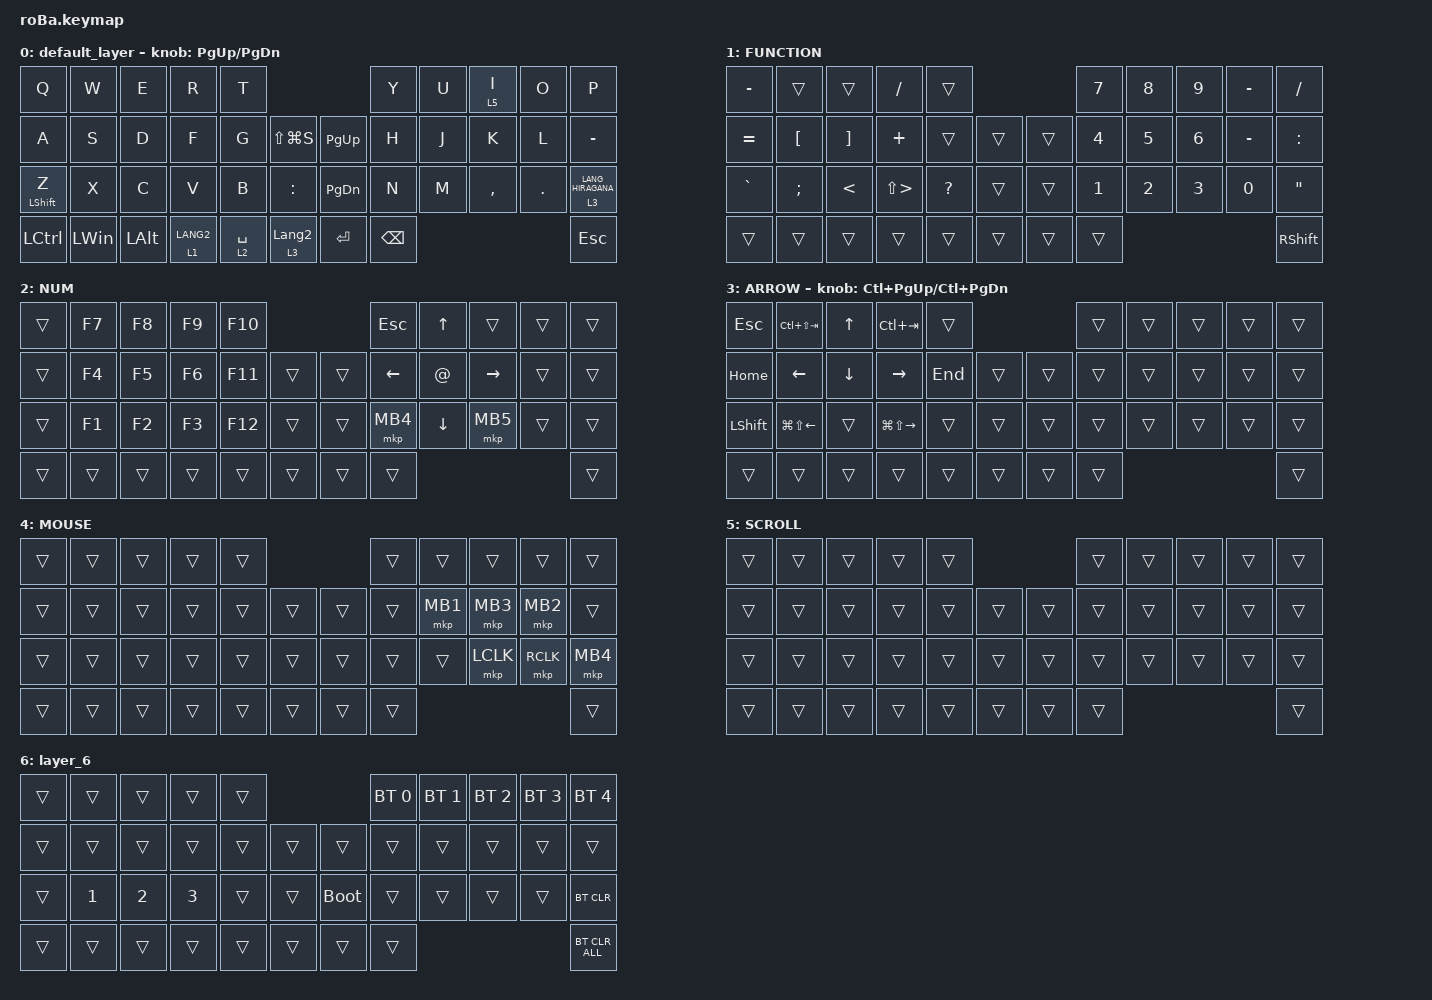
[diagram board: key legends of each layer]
#include <behaviors.dtsi>
#include <dt-bindings/zmk/bt.h>
#include <dt-bindings/zmk/keys.h>
#include <dt-bindings/zmk/pointing.h>

&mt {
    flavor = "balanced";
    quick-tap-ms = <0>;
};

&trackball {
    automouse-layer = <4>;
    scroll-layers = <5>;

    // arrows {
    //     layers = <3>;
    //     bindings =
    //         <&kp RIGHT_ARROW>,
    //         <&kp LEFT_ARROW>,
    //         <&kp UP_ARROW>,
    //         <&kp DOWN_ARROW>;
    //     tick = <10>;
    //     wait-ms = <5>;
    //     tap-ms = <5>;
    // };
};

/ {
    combos {
        compatible = "zmk,combos";

        tab {
            bindings = <&kp TAB>;
            key-positions = <11 12>;
        };

        shift_tab {
            bindings = <&kp LS(TAB)>;
            key-positions = <12 13>;
        };

        muhennkann {
            bindings = <&to_layer_0 INT_MUHENKAN>;
            key-positions = <11 10>;
        };

        double_quotation {
            bindings = <&kp DOUBLE_QUOTES>;
            key-positions = <20 21>;
        };

        eq {
            bindings = <&kp EQUAL>;
            key-positions = <24 25>;
        };
    };

    macros {
        to_layer_0: to_layer_0 {
            compatible = "zmk,behavior-macro-one-param";
            #binding-cells = <1>;
            bindings = <&to 0 &macro_param_1to1 &kp MACRO_PLACEHOLDER>;
            label = "TO_LAYER_0";
        };
    };

    behaviors {
        lt_to_layer_0: lt_to_layer_0 {
            compatible = "zmk,behavior-hold-tap";
            label = "LAYER_TAP_TO_0";
            bindings = <&mo>, <&to_layer_0>;

            #binding-cells = <2>;
            tapping-term-ms = <200>;
        };
    };

    keymap {
        compatible = "zmk,keymap";

        default_layer {
            bindings = <
&kp Q             &kp W         &kp E         &kp R        &kp T                                             &kp Y          &kp U  &lt 5 I    &kp O    &kp P
&kp A             &kp S         &kp D         &kp F        &kp G        &kp LS(LG(S))         &kp PAGE_UP    &kp H          &kp J  &kp K      &kp L    &kp MINUS
&mt LEFT_SHIFT Z  &kp X         &kp C         &kp V        &kp B        &kp COLON             &kp PAGE_DOWN  &kp N          &kp M  &kp COMMA  &kp DOT  &lt 3 LANG_HIRAGANA
&kp LCTRL         &kp LEFT_WIN  &kp LEFT_ALT  &lt 1 LANG2  &lt 2 SPACE  &lt 3 LANGUAGE_2      &kp ENTER      &kp BACKSPACE                             &kp ESCAPE
            >;

            sensor-bindings = <&inc_dec_kp PG_UP PAGE_DOWN>;
        };

        FUNCTION {
            bindings = <
&kp MINUS  &trans            &trans             &kp SLASH             &trans                            &kp NUMBER_7  &kp NUMBER_8  &kp NUMBER_9  &kp MINUS  &kp SLASH
&kp EQUAL  &kp LEFT_BRACKET  &kp RIGHT_BRACKET  &kp PLUS              &trans        &trans      &trans  &kp NUMBER_4  &kp N5        &kp NUMBER_6  &kp MINUS  &kp COLON
&kp GRAVE  &kp SEMICOLON     &kp LESS_THAN      &kp LS(GREATER_THAN)  &kp QUESTION  &trans      &trans  &kp NUMBER_1  &kp NUMBER_2  &kp NUMBER_3  &kp N0     &kp DOUBLE_QUOTES
&trans     &trans            &trans             &trans                &trans        &trans      &trans  &trans                                               &kp RIGHT_SHIFT
            >;
        };

        NUM {
            bindings = <
&trans  &kp F7  &kp F8  &kp F9  &kp F10                      &kp ESCAPE  &kp UP_ARROW    &trans     &trans  &trans
&trans  &kp F4  &kp F5  &kp F6  &kp F11  &trans      &trans  &kp LEFT    &kp AT_SIGN     &kp RIGHT  &trans  &trans
&trans  &kp F1  &kp F2  &kp F3  &kp F12  &trans      &trans  &mkp MB4    &kp DOWN_ARROW  &mkp MB5   &trans  &trans
&trans  &trans  &trans  &trans  &trans   &trans      &trans  &trans                                         &trans
            >;
        };

        ARROW {
            bindings = <
&kp ESCAPE      &kp LC(LS(TAB))         &kp UP_ARROW    &kp LC(TAB)              &trans                       &trans  &trans  &trans  &trans  &trans
&kp HOME        &kp LEFT_ARROW          &kp DOWN_ARROW  &kp RIGHT_ARROW          &kp END  &trans      &trans  &trans  &trans  &trans  &trans  &trans
&kp LEFT_SHIFT  &kp LG(LS(LEFT_ARROW))  &trans          &kp LG(LS(RIGHT_ARROW))  &trans   &trans      &trans  &trans  &trans  &trans  &trans  &trans
&trans          &trans                  &trans          &trans                   &trans   &trans      &trans  &trans                          &trans
            >;

            sensor-bindings = <&inc_dec_kp LC(PAGE_UP) LC(PAGE_DOWN)>;
        };

        MOUSE {
            bindings = <
&trans  &trans  &trans  &trans  &trans                      &trans  &trans    &trans     &trans     &trans
&trans  &trans  &trans  &trans  &trans  &trans      &trans  &trans  &mkp MB1  &mkp MB3   &mkp MB2   &trans
&trans  &trans  &trans  &trans  &trans  &trans      &trans  &trans  &trans    &mkp LCLK  &mkp RCLK  &mkp MB4
&trans  &trans  &trans  &trans  &trans  &trans      &trans  &trans                                  &trans
            >;
        };

        SCROLL {
            bindings = <
&trans  &trans  &trans  &trans  &trans                      &trans  &trans  &trans  &trans  &trans
&trans  &trans  &trans  &trans  &trans  &trans      &trans  &trans  &trans  &trans  &trans  &trans
&trans  &trans  &trans  &trans  &trans  &trans      &trans  &trans  &trans  &trans  &trans  &trans
&trans  &trans  &trans  &trans  &trans  &trans      &trans  &trans                          &trans
            >;
        };

        layer_6 {
            bindings = <
&trans  &trans        &trans        &trans        &trans                           &bt BT_SEL 0  &bt BT_SEL 1  &bt BT_SEL 2  &bt BT_SEL 3  &bt BT_SEL 4
&trans  &trans        &trans        &trans        &trans  &trans      &trans       &trans        &trans        &trans        &trans        &trans
&trans  &kp NUMBER_1  &kp NUMBER_2  &kp NUMBER_3  &trans  &trans      &bootloader  &trans        &trans        &trans        &trans        &bt BT_CLR
&trans  &trans        &trans        &trans        &trans  &trans      &trans       &trans                                                  &bt BT_CLR_ALL
            >;
        };
    };
};
